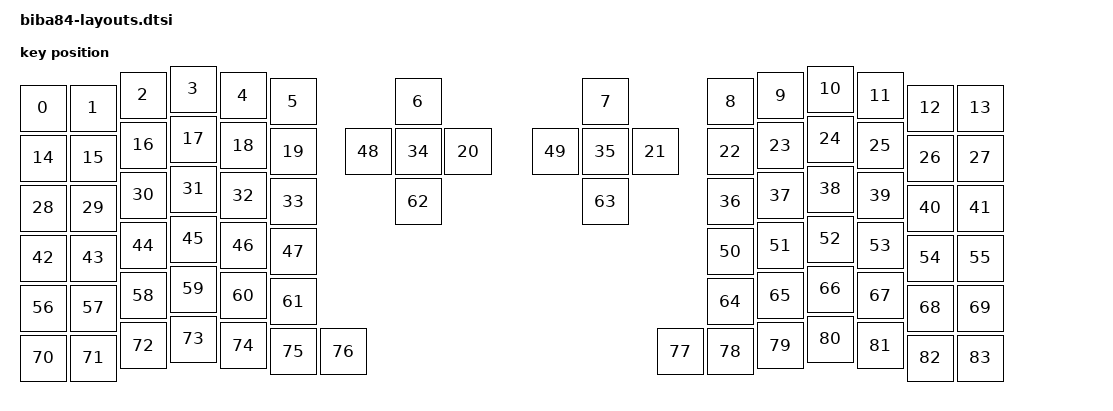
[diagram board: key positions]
#include <physical_layouts.dtsi>

/ {
    default_layout: default_layout {
        compatible = "zmk,physical-layout";
        display-name = "Biba84";
        transform = <&default_transform>;
        kscan = <&kscan0>;

        studio-config {
            compatible = "zmk,studio-config";
        };
        keys  //                     w   h    x    y     rot    rx    ry
            = <&key_physical_attrs 100 100    0   38       0     0     0>
            , <&key_physical_attrs 100 100  100   38       0     0     0>
            , <&key_physical_attrs 100 100  200   12       0     0     0>
            , <&key_physical_attrs 100 100  300    0       0     0     0>
            , <&key_physical_attrs 100 100  400   13       0     0     0>
            , <&key_physical_attrs 100 100  500   25       0     0     0>
            , <&key_physical_attrs 100 100  750   25       0     0     0>
            , <&key_physical_attrs 100 100 1125   25       0     0     0>
            , <&key_physical_attrs 100 100 1375   25       0     0     0>
            , <&key_physical_attrs 100 100 1475   13       0     0     0>
            , <&key_physical_attrs 100 100 1575    0       0     0     0>
            , <&key_physical_attrs 100 100 1675   13       0     0     0>
            , <&key_physical_attrs 100 100 1775   38       0     0     0>
            , <&key_physical_attrs 100 100 1875   38       0     0     0>
            , <&key_physical_attrs 100 100    0  138       0     0     0>
            , <&key_physical_attrs 100 100  100  138       0     0     0>
            , <&key_physical_attrs 100 100  200  112       0     0     0>
            , <&key_physical_attrs 100 100  300  100       0     0     0>
            , <&key_physical_attrs 100 100  400  113       0     0     0>
            , <&key_physical_attrs 100 100  500  125       0     0     0>
            , <&key_physical_attrs 100 100  850  125       0     0     0>
            , <&key_physical_attrs 100 100 1225  125       0     0     0>
            , <&key_physical_attrs 100 100 1375  125       0     0     0>
            , <&key_physical_attrs 100 100 1475  113       0     0     0>
            , <&key_physical_attrs 100 100 1575  100       0     0     0>
            , <&key_physical_attrs 100 100 1675  113       0     0     0>
            , <&key_physical_attrs 100 100 1775  138       0     0     0>
            , <&key_physical_attrs 100 100 1875  138       0     0     0>
            , <&key_physical_attrs 100 100    0  238       0     0     0>
            , <&key_physical_attrs 100 100  100  238       0     0     0>
            , <&key_physical_attrs 100 100  200  212       0     0     0>
            , <&key_physical_attrs 100 100  300  200       0     0     0>
            , <&key_physical_attrs 100 100  400  213       0     0     0>
            , <&key_physical_attrs 100 100  500  225       0     0     0>
            , <&key_physical_attrs 100 100  750  125       0     0     0>
            , <&key_physical_attrs 100 100 1125  125       0     0     0>
            , <&key_physical_attrs 100 100 1375  225       0     0     0>
            , <&key_physical_attrs 100 100 1475  213       0     0     0>
            , <&key_physical_attrs 100 100 1575  200       0     0     0>
            , <&key_physical_attrs 100 100 1675  213       0     0     0>
            , <&key_physical_attrs 100 100 1775  238       0     0     0>
            , <&key_physical_attrs 100 100 1875  238       0     0     0>
            , <&key_physical_attrs 100 100    0  338       0     0     0>
            , <&key_physical_attrs 100 100  100  338       0     0     0>
            , <&key_physical_attrs 100 100  200  313       0     0     0>
            , <&key_physical_attrs 100 100  300  300       0     0     0>
            , <&key_physical_attrs 100 100  400  313       0     0     0>
            , <&key_physical_attrs 100 100  500  325       0     0     0>
            , <&key_physical_attrs 100 100  650  125       0     0     0>
            , <&key_physical_attrs 100 100 1025  125       0     0     0>
            , <&key_physical_attrs 100 100 1375  325       0     0     0>
            , <&key_physical_attrs 100 100 1475  313       0     0     0>
            , <&key_physical_attrs 100 100 1575  300       0     0     0>
            , <&key_physical_attrs 100 100 1675  313       0     0     0>
            , <&key_physical_attrs 100 100 1775  338       0     0     0>
            , <&key_physical_attrs 100 100 1875  338       0     0     0>
            , <&key_physical_attrs 100 100    0  438       0     0     0>
            , <&key_physical_attrs 100 100  100  438       0     0     0>
            , <&key_physical_attrs 100 100  200  413       0     0     0>
            , <&key_physical_attrs 100 100  300  400       0     0     0>
            , <&key_physical_attrs 100 100  400  413       0     0     0>
            , <&key_physical_attrs 100 100  500  425       0     0     0>
            , <&key_physical_attrs 100 100  750  225       0     0     0>
            , <&key_physical_attrs 100 100 1125  225       0     0     0>
            , <&key_physical_attrs 100 100 1375  425       0     0     0>
            , <&key_physical_attrs 100 100 1475  413       0     0     0>
            , <&key_physical_attrs 100 100 1575  400       0     0     0>
            , <&key_physical_attrs 100 100 1675  413       0     0     0>
            , <&key_physical_attrs 100 100 1775  438       0     0     0>
            , <&key_physical_attrs 100 100 1875  438       0     0     0>
            , <&key_physical_attrs 100 100    0  538       0     0     0>
            , <&key_physical_attrs 100 100  100  538       0     0     0>
            , <&key_physical_attrs 100 100  200  513       0     0     0>
            , <&key_physical_attrs 100 100  300  500       0     0     0>
            , <&key_physical_attrs 100 100  400  513       0     0     0>
            , <&key_physical_attrs 100 100  500  525       0     0     0>
            , <&key_physical_attrs 100 100  600  525       0     0     0>
            , <&key_physical_attrs 100 100 1275  525       0     0     0>
            , <&key_physical_attrs 100 100 1375  525       0     0     0>
            , <&key_physical_attrs 100 100 1475  513       0     0     0>
            , <&key_physical_attrs 100 100 1575  500       0     0     0>
            , <&key_physical_attrs 100 100 1675  513       0     0     0>
            , <&key_physical_attrs 100 100 1775  538       0     0     0>
            , <&key_physical_attrs 100 100 1875  538       0     0     0>
            ;
    };
};
